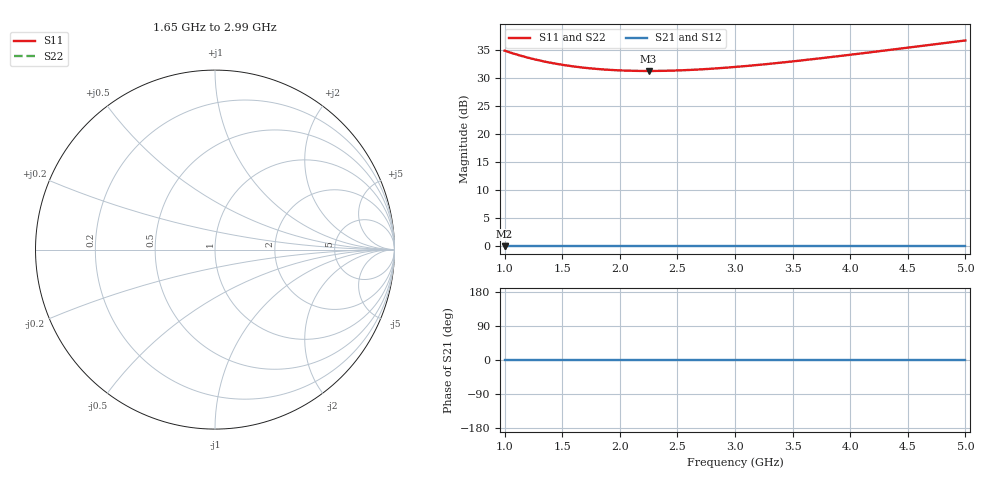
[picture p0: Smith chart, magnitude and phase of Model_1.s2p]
# GHZ S RI R 50
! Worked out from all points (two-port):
!   401 points, 1 GHz to 5 GHz, reference 50 ohm
!   highest |S21| = 0.00 dB at 1 GHz (marker M1); lowest = 0.0 dB at 1 GHz (marker M2)
!   |S21| within 3 dB of the highest: start of sweep to end of sweep
!   lowest |S11| = 31.2 dB at 2.25 GHz (marker M3)
!   |S11| at or under -10 dB: nowhere
!   |S22| runs from 31.2 to 36.7 dB; largest |S21 - S12| = 0
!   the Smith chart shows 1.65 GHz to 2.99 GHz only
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1  55.2 0  1 0  1 0  55.2 0
1.15  49.39 0  1 0  1 0  49.39 0
1.22  47.26 0  1 0  1 0  47.26 0
1.3  45.18 0  1 0  1 0  45.18 0
1.38  43.42 0  1 0  1 0  43.42 0
1.47  41.77 0  1 0  1 0  41.77 0
1.57  40.27 0  1 0  1 0  40.27 0
1.67  39.08 0  1 0  1 0  39.08 0
1.8  37.91 0  1 0  1 0  37.91 0
1.94  37.05 0  1 0  1 0  37.05 0
2.09  36.53 0  1 0  1 0  36.53 0
2.25  36.36 0  1 0  1 0  36.36 0
2.34  36.41 0  1 0  1 0  36.41 0
2.5  36.75 0  1 0  1 0  36.75 0
2.66  37.36 0  1 0  1 0  37.36 0
3  39.47 0  1 0  1 0  39.47 0
3.33  42.41 0  1 0  1 0  42.41 0
3.67  46.26 0  1 0  1 0  46.26 0
4  50.7 0  1 0  1 0  50.7 0
4.34  55.96 0  1 0  1 0  55.96 0
4.63  60.96 0  1 0  1 0  60.96 0
5  68 0  1 0  1 0  68 0
